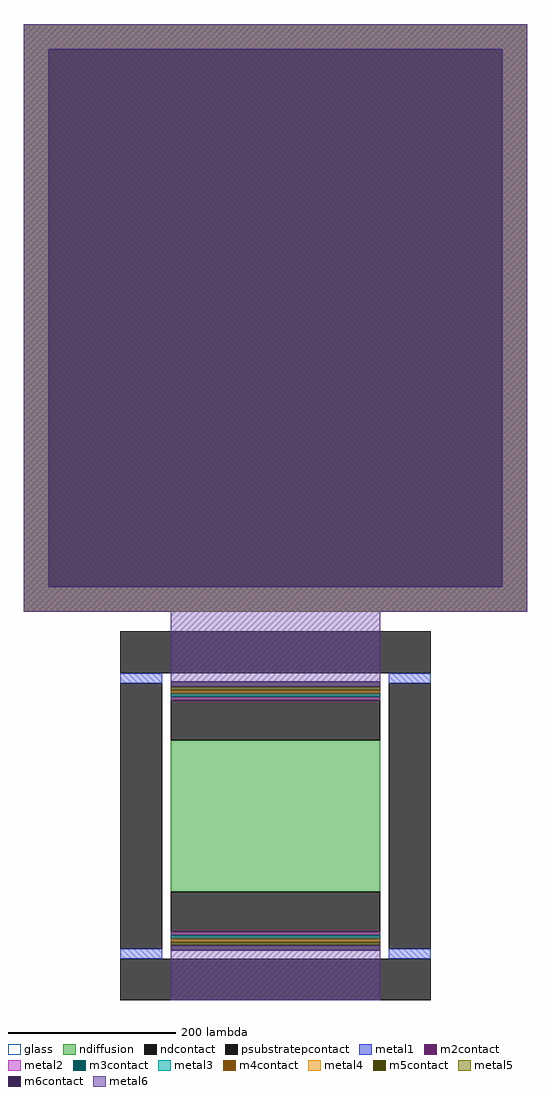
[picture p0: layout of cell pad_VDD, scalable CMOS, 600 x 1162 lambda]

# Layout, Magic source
magic
tech scmos
<< ndiffusion >>
rect -79 -654 171 -474
<< ndcontact >>
rect -79 -474 171 -426
rect -79 -702 171 -654
<< psubstratepcontact >>
rect -139 -394 231 -344
rect -139 -722 -89 -406
rect 181 -722 231 -406
rect -139 -783 231 -734
<< metal1 >>
rect -254 -321 346 379
rect -139 -406 -89 -394
rect 181 -406 231 -394
rect -139 -734 -89 -722
rect 181 -734 231 -722
<< m2contact >>
rect -79 -426 171 -422
rect -79 -706 171 -702
<< metal2 >>
rect -254 -321 346 379
<< m3contact >>
rect -79 -422 171 -418
rect -79 -710 171 -706
<< metal3 >>
rect -254 -321 346 379
<< m4contact >>
rect -79 -418 171 -414
rect -79 -714 171 -710
<< metal4 >>
rect -254 -321 346 379
<< m5contact >>
rect -79 -414 171 -410
rect -79 -718 171 -714
<< metal5 >>
rect -254 349 346 379
rect -254 -291 -224 349
rect 316 -291 346 349
rect -254 -321 346 -291
<< m6contact >>
rect -224 -291 316 349
rect -79 -410 171 -404
rect -79 -724 171 -718
<< metal6 >>
rect -254 349 346 379
rect -254 -291 -224 349
rect 316 -291 346 349
rect -254 -321 346 -291
rect -79 -404 171 -321
rect -79 -783 171 -724
<< glass >>
rect -224 -291 316 349
<< end >>
